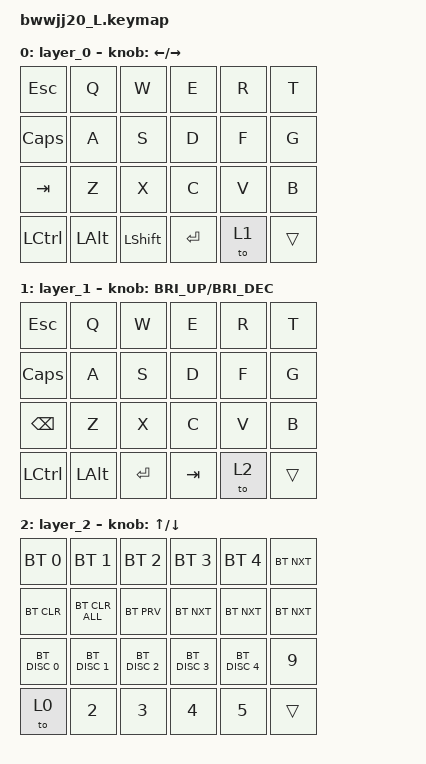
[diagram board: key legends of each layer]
#include <behaviors.dtsi>
#include <dt-bindings/zmk/bt.h>
#include <dt-bindings/zmk/keys.h>

/ {
    behaviors {
        // L编码器的行为

        rot_kp_1: sensor_rotate_kp_1 {
            compatible = "zmk,behavior-sensor-rotate-var";
            #sensor-binding-cells = <2>;
            bindings = <&kp>, <&kp>;
        };
    };

    keymap {
        compatible = "zmk,keymap";

        layer_0 {
            bindings = <
&kp ESC    &kp Q     &kp W           &kp E      &kp R  &kp T
&kp CAPS   &kp A     &kp S           &kp D      &kp F  &kp G
&kp TAB    &kp Z     &kp X           &kp C      &kp V  &kp B
&kp LCTRL  &kp LALT  &kp LEFT_SHIFT  &kp ENTER  &to 1  &trans
            >;

            // 第一个编码器的绑定

            sensor-bindings = <&rot_kp_1 LEFT_ARROW RIGHT>;

            // 编码器1：旋转触发 PG_UP 和 PG_DN,,
        };

        layer_1 {
            bindings = <
&kp ESC    &kp Q     &kp W      &kp E    &kp R  &kp T
&kp CAPS   &kp A     &kp S      &kp D    &kp F  &kp G
&kp BSPC   &kp Z     &kp X      &kp C    &kp V  &kp B
&kp LCTRL  &kp LALT  &kp ENTER  &kp TAB  &to 2  &trans
            >;

            sensor-bindings = <&inc_dec_kp C_BRI_UP C_BRI_DEC>;
        };

        layer_2 {
            bindings = <
&bt BT_SEL 0   &bt BT_SEL 1    &bt BT_SEL 2   &bt BT_SEL 3   &bt BT_SEL 4   &bt BT_NXT
&bt BT_CLR     &bt BT_CLR_ALL  &bt BT_PRV     &bt BT_NXT     &bt BT_NXT     &bt BT_NXT
&bt BT_DISC 0  &bt BT_DISC 1   &bt BT_DISC 2  &bt BT_DISC 3  &bt BT_DISC 4  &kp N9
&to 0          &kp N2          &kp NUMBER_3   &kp N4         &kp N5         &trans
            >;

            sensor-bindings = <&inc_dec_kp UP DOWN>;
        };
    };
};
